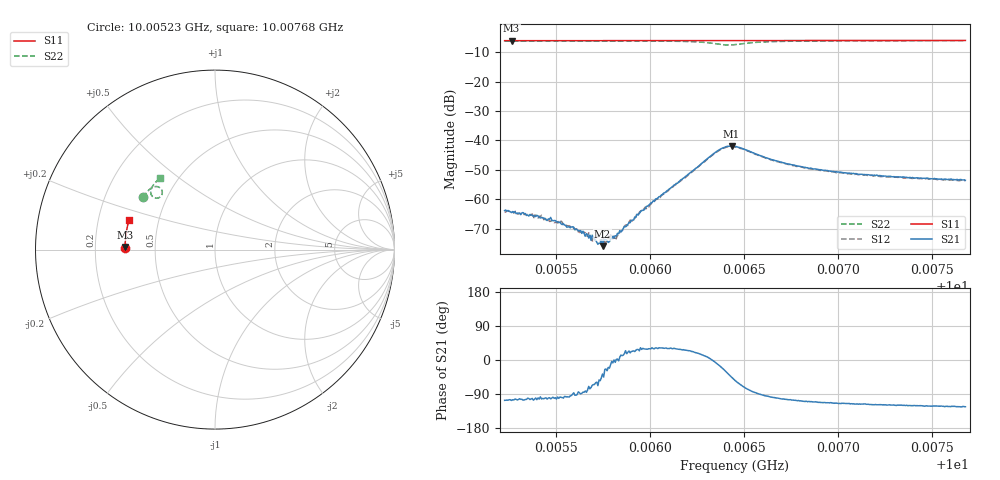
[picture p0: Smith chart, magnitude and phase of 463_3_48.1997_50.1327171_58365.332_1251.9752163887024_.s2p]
#  HZ  S  RI  R  50.00
! Rohde & Schwarz Vector Network Analyzer
! Rohde-Schwarz,ZNB20-2Port,1311601062101988,3.16
! Created: UTC 3/20/2024, 11:56:50 AM
! freq[Hz]  re:S11  im:S11  re:S21  im:S21  re:S12  im:S12  re:S22  im:S22
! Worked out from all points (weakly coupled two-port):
!   401 points, 10.00523 GHz to 10.00768 GHz, reference 50 ohm
!   highest |S21| = -41.91 dB at 10.00643 GHz (marker M1); lowest = -76.0 dB at 10.00575 GHz (marker M2)
!   lowest |S11| = -6.0 dB at 10.00526 GHz (marker M3), VSWR 3.01, Z = 16.6 + j0.618 ohm
!   |S11| at or under -10 dB: nowhere
!   |S22| runs from -7.5 to -6.0 dB; largest |S21 - S12| = 0.00049
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1.0005227e10  -0.5009 0.0116  -0.000181 -0.000614  -0.00015 -0.000578  -0.4012 0.2906
1.0005264e10  -0.5008 0.0139  -0.00017 -0.000566  -0.000118 -0.000597  -0.3997 0.2929
1.0005417e10  -0.5008 0.0239  -5.96e-05 -0.000474  -0.000125 -0.000488  -0.3935 0.3018
1.0005472e10  -0.5007 0.0276  -0.000107 -0.000477  -5.22e-05 -0.000419  -0.3911 0.3052
1.0005528e10  -0.5006 0.0312  -5.72e-05 -0.000377  -2.53e-05 -0.000422  -0.3886 0.3085
1.0005638e10  -0.5003 0.0383  9.7e-06 -0.000262  -2.44e-06 -0.00028  -0.3835 0.3151
1.0005699e10  -0.5002 0.0421  9.72e-05 -0.000208  9.96e-05 -0.000206  -0.3804 0.3189
1.0005724e10  -0.5 0.0437  6.5e-05 -0.000158  0.000126 -0.000204  -0.3792 0.3205
1.0005748e10  -0.5 0.0454  0.000126 -9.56e-05  0.000134 -0.00013  -0.378 0.3219
1.0005773e10  -0.4999 0.0471  0.000176 -9.48e-05  0.000172 -8.02e-05  -0.3766 0.3236
1.0005785e10  -0.4998 0.0477  0.000176 -6.88e-05  0.000191 -6.86e-05  -0.376 0.3242
1.0005828e10  -0.4998 0.0506  0.000262 1.08e-05  0.000235 6.8e-05  -0.3733 0.3268
1.0005944e10  -0.4991 0.0582  0.000524 0.000237  0.000516 0.000306  -0.3657 0.3347
1.0006048e10  -0.4984 0.0649  0.000933 0.000585  0.000898 0.000593  -0.3566 0.3416
1.0006355e10  -0.4956 0.0845  0.00643 -0.000978  0.00629 -0.000618  -0.2958 0.33
1.0006391e10  -0.495 0.0868  0.00688 -0.0031  0.00687 -0.00268  -0.2945 0.3101
1.0006434e10  -0.4947 0.0892  0.00563 -0.00572  0.00585 -0.0053  -0.3099 0.2904
1.0006453e10  -0.4947 0.0902  0.00468 -0.00641  0.00493 -0.00599  -0.3198 0.2869
1.0006673e10  -0.4929 0.1045  -0.000792 -0.00441  -0.000555 -0.00435  -0.358 0.3283
1.0006863e10  -0.4906 0.1165  -0.00117 -0.00311  -0.000976 -0.00313  -0.3498 0.35
1.0007274e10  -0.4846 0.1424  -0.00117 -0.00216  -0.00106 -0.00215  -0.3286 0.3774
1.0007678e10  -0.4774 0.1676  -0.00116 -0.00175  -0.00104 -0.00179  -0.3078 0.3973
